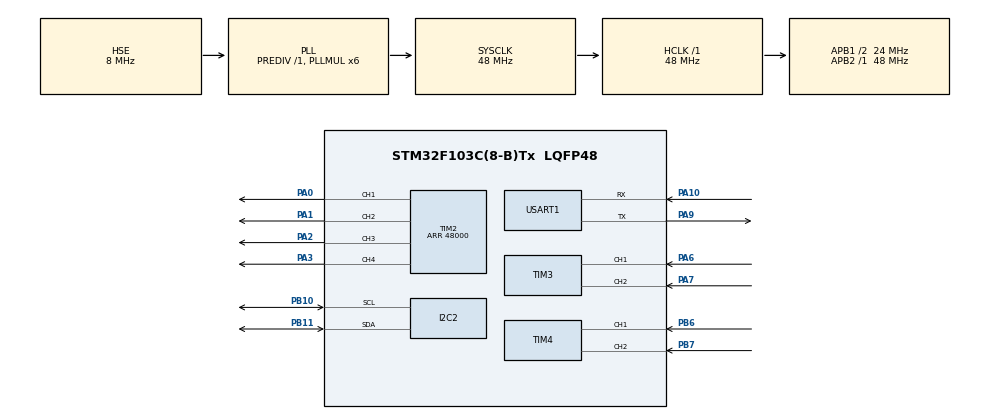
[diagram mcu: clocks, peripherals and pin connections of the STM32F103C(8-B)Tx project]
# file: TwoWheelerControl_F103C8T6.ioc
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Mcu.Family=STM32F1
Mcu.Name=STM32F103C(8-B)Tx
Mcu.Package=LQFP48
NVIC.PriorityGroup=NVIC_PRIORITYGROUP_4
NVIC.USART1_IRQn=true\:0\:0\:false\:false\:true\:true\:true\:true
PA0-WKUP.Signal=S_TIM2_CH1_ETR
PA1.Signal=S_TIM2_CH2
PA10.Mode=Asynchronous
PA10.Signal=USART1_RX
PA13.Mode=Trace_Asynchronous_SW
PA13.Signal=SYS_JTMS-SWDIO
PA14.Mode=Trace_Asynchronous_SW
PA14.Signal=SYS_JTCK-SWCLK
PA2.Signal=S_TIM2_CH3
PA3.Signal=S_TIM2_CH4
PA6.Signal=S_TIM3_CH1
PA7.Signal=S_TIM3_CH2
PA9.Mode=Asynchronous
PA9.Signal=USART1_TX
PB10.Mode=I2C
PB10.Signal=I2C2_SCL
PB11.Mode=I2C
PB11.Signal=I2C2_SDA
PB3.Mode=Trace_Asynchronous_SW
PB3.Signal=SYS_JTDO-TRACESWO
PB6.Signal=S_TIM4_CH1
PB7.Signal=S_TIM4_CH2
PD0-OSC_IN.Mode=HSE-External-Oscillator
PD0-OSC_IN.Signal=RCC_OSC_IN
PD1-OSC_OUT.Mode=HSE-External-Oscillator
PD1-OSC_OUT.Signal=RCC_OSC_OUT
ProjectManager.HeapSize=0x200
ProjectManager.StackSize=0x400
ProjectManager.TargetToolchain=STM32CubeIDE
RCC.AHBFreq_Value=48000000
RCC.APB1CLKDivider=RCC_HCLK_DIV2
RCC.APB1Freq_Value=24000000
RCC.APB1TimFreq_Value=48000000
RCC.APB2Freq_Value=48000000
RCC.APB2TimFreq_Value=48000000
RCC.HCLKFreq_Value=48000000
RCC.PLLMUL=RCC_PLL_MUL6
RCC.PLLSourceVirtual=RCC_PLLSOURCE_HSE
RCC.SYSCLKFreq_VALUE=48000000
RCC.SYSCLKSource=RCC_SYSCLKSOURCE_PLLCLK
RCC.USBFreq_Value=48000000
SH.S_TIM2_CH1_ETR.0=TIM2_CH1,PWM Generation1 CH1
SH.S_TIM2_CH2.0=TIM2_CH2,PWM Generation2 CH2
SH.S_TIM2_CH3.0=TIM2_CH3,PWM Generation3 CH3
SH.S_TIM2_CH4.0=TIM2_CH4,PWM Generation4 CH4
SH.S_TIM3_CH1.0=TIM3_CH1,Encoder_Interface
SH.S_TIM3_CH2.0=TIM3_CH2,Encoder_Interface
SH.S_TIM4_CH1.0=TIM4_CH1,Encoder_Interface
SH.S_TIM4_CH2.0=TIM4_CH2,Encoder_Interface
TIM2.Channel-PWM\ Generation1\ CH1=TIM_CHANNEL_1
TIM2.Channel-PWM\ Generation2\ CH2=TIM_CHANNEL_2
TIM2.Channel-PWM\ Generation3\ CH3=TIM_CHANNEL_3
TIM2.Channel-PWM\ Generation4\ CH4=TIM_CHANNEL_4
TIM2.ClockDivision=TIM_CLOCKDIVISION_DIV1
TIM2.Period=48000
USART1.VirtualMode=VM_ASYNC
board=custom

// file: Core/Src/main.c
/* USER CODE BEGIN Header */
/**
  ******************************************************************************
  * @file           : main.c
  * @brief          : Main program body
  ******************************************************************************
  * @attention
  *
  * Copyright (c) 2024 STMicroelectronics.
  * All rights reserved.
  *
  * This software is licensed under terms that can be found in the LICENSE file
  * in the root directory of this software component.
  * If no LICENSE file comes with this software, it is provided AS-IS.
  *
  ******************************************************************************
  */
/* USER CODE END Header */
#include "main.h"

/* USER CODE BEGIN Includes */
#include "mpu6050.h"
#include "MessageSend.h"
#include "PID_Controller.h"
#include "UART_DataProcess.h"
/* USER CODE END Includes */

/* USER CODE BEGIN PD */
/*----------------------------Wifi----------------------------*/
#define AT         "AT\r\n"
#define ATE        "ATE0\r\n"
#define RESTORE    "AT+RESTORE\r\n"
#define CWMODE     "AT+CWMODE=2\r\n"
#define CWSAP      "AT+CWSAP=\"esp_test\",\"1234567890\",5,3\r\n"
#define CIPMUX     "AT+CIPMUX=1\r\n"
#define CIPSERVER  "AT+CIPSERVER=1,8080\r\n"
/* USER CODE END PD */

I2C_HandleTypeDef hi2c2;

TIM_HandleTypeDef htim2;
TIM_HandleTypeDef htim3;
TIM_HandleTypeDef htim4;

UART_HandleTypeDef huart1;

/* USER CODE BEGIN PV */
ControlMessage ControlMsg = {0};

uint16_t CalibrationSpeed[20] = { 5, 10, 15, 20, 25, 30, 35, 40, 45, 50, 55, 60, 65, 70, 75, 80, 85, 90, 95, 100 };

uint16_t TargetPWM_Coefficient[2][20] = {
  { 7419, 7926, 9093, 10239, 11568, 12663, 13709, 14952, 16235, 17686, 19773, 21536, 23592, 26488, 28864, 31445, 34393, 36772, 39053, 41571},
  {0}
};

double Coefficient[2][6] = {
  { 6393.2863777406f, 150.8072828816f,  3.9744715635f, -0.1313606797f,  0.0022325135f, -0.0000111731f },
  { 6559.9999999987f, 303.4261072263f, -6.5722610723f,  0.1653146853f, -0.0018135198f,  0.0000082051f }
};

PWM_LimitCalibration_t PWM_LimitCal = {0};

ControlINFO_t ControlINFO;

Encoder_t Encoder[2]   = {0};
PID_t     MOTOR_PID[2] = {0};
uint8_t   speed        =  0;

//Control_flag_t Control_flag = {false};
MPU6050_t      MPU6050      = {0};
Count_t        Count        = {0};

/* USER CODE END PV */

void SystemClock_Config(void);
static void MX_GPIO_Init(void);
static void MX_TIM2_Init(void);
static void MX_I2C2_Init(void);
static void MX_USART1_UART_Init(void);
static void MX_TIM3_Init(void);
static void MX_TIM4_Init(void);
/* USER CODE BEGIN PFP */
static void WIFI_Init(void);
static void MessageProcess(void);
static void MOTOR_Control(void);

/* USER CODE END PFP */

int main(void)
{

  /* MCU Configuration--------------------------------------------------------*/

  /* Reset of all peripherals, Initializes the Flash interface and the Systick. */
  HAL_Init();

  /* Configure the system clock */
  SystemClock_Config();

  /* Initialize all configured peripherals */
  MX_GPIO_Init();
  MX_TIM2_Init();
  MX_I2C2_Init();
  MX_USART1_UART_Init();
  MX_TIM3_Init();
  MX_TIM4_Init();
  /* USER CODE BEGIN 2 */
  /*-------------------------------- UART Init ----------------------------------*/
  WIFI_Init();
  ControlMsg.ESP32Info.Aisle = '0';
  /*-------------------------- MOTOR controller Init ----------------------------*/
  HAL_TIM_PWM_Start(&htim2, TIM_CHANNEL_ALL);
  TIM2->CR1 |= TIM_CR1_CEN;
  TIM2->CNT = 0;
  TIM2->CCER |= (TIM_CCER_CC1E|TIM_CCER_CC2E|TIM_CCER_CC3E|TIM_CCER_CC4E);

  /*--------------------------- MOTOR1 Encoder Init -----------------------------*/
  PID_Init(&MOTOR_PID[MOTOR1], 0.85, 0.90, 0.02);
  HAL_TIM_Encoder_Start(&htim3, TIM_CHANNEL_ALL);

  /*--------------------------- MOTOR2 Encoder Init -----------------------------*/
  PID_Init(&MOTOR_PID[MOTOR2], 0.85, 0.90, 0.02);
  HAL_TIM_Encoder_Start(&htim4, TIM_CHANNEL_ALL);

  /* USER CODE END 2 */

  /* Infinite loop */
  /* USER CODE BEGIN WHILE */
  while (1)
  {
    /*------------- read WIFI data -------------*/
    MessageProcess();
    /*-------------- MOTOR Control -------------*/
    MOTOR_Control();

    /* USER CODE END WHILE */

  }
}

void SystemClock_Config(void)
{
  RCC_OscInitTypeDef RCC_OscInitStruct = {0};
  RCC_ClkInitTypeDef RCC_ClkInitStruct = {0};

  /** Initializes the RCC Oscillators according to the specified parameters
  * in the RCC_OscInitTypeDef structure.
  */
  RCC_OscInitStruct.OscillatorType = RCC_OSCILLATORTYPE_HSE;
  RCC_OscInitStruct.HSEState = RCC_HSE_ON;
  RCC_OscInitStruct.HSEPredivValue = RCC_HSE_PREDIV_DIV1;
  RCC_OscInitStruct.HSIState = RCC_HSI_ON;
  RCC_OscInitStruct.PLL.PLLState = RCC_PLL_ON;
  RCC_OscInitStruct.PLL.PLLSource = RCC_PLLSOURCE_HSE;
  RCC_OscInitStruct.PLL.PLLMUL = RCC_PLL_MUL6;
  if (HAL_RCC_OscConfig(&RCC_OscInitStruct) != HAL_OK)
  {
    Error_Handler();
  }

  /** Initializes the CPU, AHB and APB buses clocks
  */
  RCC_ClkInitStruct.ClockType = RCC_CLOCKTYPE_HCLK|RCC_CLOCKTYPE_SYSCLK
                              |RCC_CLOCKTYPE_PCLK1|RCC_CLOCKTYPE_PCLK2;
  RCC_ClkInitStruct.SYSCLKSource = RCC_SYSCLKSOURCE_PLLCLK;
  RCC_ClkInitStruct.AHBCLKDivider = RCC_SYSCLK_DIV1;
  RCC_ClkInitStruct.APB1CLKDivider = RCC_HCLK_DIV2;
  RCC_ClkInitStruct.APB2CLKDivider = RCC_HCLK_DIV1;

  if (HAL_RCC_ClockConfig(&RCC_ClkInitStruct, FLASH_LATENCY_1) != HAL_OK)
  {
    Error_Handler();
  }
}

static void MX_I2C2_Init(void)
{

  hi2c2.Instance = I2C2;
  hi2c2.Init.ClockSpeed = 100000;
  hi2c2.Init.DutyCycle = I2C_DUTYCYCLE_2;
  hi2c2.Init.OwnAddress1 = 0;
  hi2c2.Init.AddressingMode = I2C_ADDRESSINGMODE_7BIT;
  hi2c2.Init.DualAddressMode = I2C_DUALADDRESS_DISABLE;
  hi2c2.Init.OwnAddress2 = 0;
  hi2c2.Init.GeneralCallMode = I2C_GENERALCALL_DISABLE;
  hi2c2.Init.NoStretchMode = I2C_NOSTRETCH_DISABLE;
  if (HAL_I2C_Init(&hi2c2) != HAL_OK)
  {
    Error_Handler();
  }

}

static void MX_TIM2_Init(void)
{

  TIM_MasterConfigTypeDef sMasterConfig = {0};
  TIM_OC_InitTypeDef sConfigOC = {0};

  htim2.Instance = TIM2;
  htim2.Init.Prescaler = 0;
  htim2.Init.CounterMode = TIM_COUNTERMODE_UP;
  htim2.Init.Period = 48000;
  htim2.Init.ClockDivision = TIM_CLOCKDIVISION_DIV1;
  htim2.Init.AutoReloadPreload = TIM_AUTORELOAD_PRELOAD_DISABLE;
  if (HAL_TIM_PWM_Init(&htim2) != HAL_OK)
  {
    Error_Handler();
  }
  sMasterConfig.MasterOutputTrigger = TIM_TRGO_RESET;
  sMasterConfig.MasterSlaveMode = TIM_MASTERSLAVEMODE_DISABLE;
  if (HAL_TIMEx_MasterConfigSynchronization(&htim2, &sMasterConfig) != HAL_OK)
  {
    Error_Handler();
  }
  sConfigOC.OCMode = TIM_OCMODE_PWM1;
  sConfigOC.Pulse = 0;
  sConfigOC.OCPolarity = TIM_OCPOLARITY_HIGH;
  sConfigOC.OCFastMode = TIM_OCFAST_DISABLE;
  if (HAL_TIM_PWM_ConfigChannel(&htim2, &sConfigOC, TIM_CHANNEL_1) != HAL_OK)
  {
    Error_Handler();
  }
  if (HAL_TIM_PWM_ConfigChannel(&htim2, &sConfigOC, TIM_CHANNEL_2) != HAL_OK)
  {
    Error_Handler();
  }
  if (HAL_TIM_PWM_ConfigChannel(&htim2, &sConfigOC, TIM_CHANNEL_3) != HAL_OK)
  {
    Error_Handler();
  }
  if (HAL_TIM_PWM_ConfigChannel(&htim2, &sConfigOC, TIM_CHANNEL_4) != HAL_OK)
  {
    Error_Handler();
  }
  HAL_TIM_MspPostInit(&htim2);

}

static void MX_TIM3_Init(void)
{

  TIM_Encoder_InitTypeDef sConfig = {0};
  TIM_MasterConfigTypeDef sMasterConfig = {0};

  htim3.Instance = TIM3;
  htim3.Init.Prescaler = 0;
  htim3.Init.CounterMode = TIM_COUNTERMODE_UP;
  htim3.Init.Period = 65535;
  htim3.Init.ClockDivision = TIM_CLOCKDIVISION_DIV1;
  htim3.Init.AutoReloadPreload = TIM_AUTORELOAD_PRELOAD_DISABLE;
  sConfig.EncoderMode = TIM_ENCODERMODE_TI1;
  sConfig.IC1Polarity = TIM_ICPOLARITY_RISING;
  sConfig.IC1Selection = TIM_ICSELECTION_DIRECTTI;
  sConfig.IC1Prescaler = TIM_ICPSC_DIV1;
  sConfig.IC1Filter = 0;
  sConfig.IC2Polarity = TIM_ICPOLARITY_RISING;
  sConfig.IC2Selection = TIM_ICSELECTION_DIRECTTI;
  sConfig.IC2Prescaler = TIM_ICPSC_DIV1;
  sConfig.IC2Filter = 0;
  if (HAL_TIM_Encoder_Init(&htim3, &sConfig) != HAL_OK)
  {
    Error_Handler();
  }
  sMasterConfig.MasterOutputTrigger = TIM_TRGO_RESET;
  sMasterConfig.MasterSlaveMode = TIM_MASTERSLAVEMODE_DISABLE;
  if (HAL_TIMEx_MasterConfigSynchronization(&htim3, &sMasterConfig) != HAL_OK)
  {
    Error_Handler();
  }

}

static void MX_TIM4_Init(void)
{

  TIM_Encoder_InitTypeDef sConfig = {0};
  TIM_MasterConfigTypeDef sMasterConfig = {0};

  htim4.Instance = TIM4;
  htim4.Init.Prescaler = 0;
  htim4.Init.CounterMode = TIM_COUNTERMODE_UP;
  htim4.Init.Period = 65535;
  htim4.Init.ClockDivision = TIM_CLOCKDIVISION_DIV1;
  htim4.Init.AutoReloadPreload = TIM_AUTORELOAD_PRELOAD_DISABLE;
  sConfig.EncoderMode = TIM_ENCODERMODE_TI1;
  sConfig.IC1Polarity = TIM_ICPOLARITY_RISING;
  sConfig.IC1Selection = TIM_ICSELECTION_DIRECTTI;
  sConfig.IC1Prescaler = TIM_ICPSC_DIV1;
  sConfig.IC1Filter = 0;
  sConfig.IC2Polarity = TIM_ICPOLARITY_RISING;
  sConfig.IC2Selection = TIM_ICSELECTION_DIRECTTI;
  sConfig.IC2Prescaler = TIM_ICPSC_DIV1;
  sConfig.IC2Filter = 0;
  if (HAL_TIM_Encoder_Init(&htim4, &sConfig) != HAL_OK)
  {
    Error_Handler();
  }
  sMasterConfig.MasterOutputTrigger = TIM_TRGO_RESET;
  sMasterConfig.MasterSlaveMode = TIM_MASTERSLAVEMODE_DISABLE;
  if (HAL_TIMEx_MasterConfigSynchronization(&htim4, &sMasterConfig) != HAL_OK)
  {
    Error_Handler();
  }

}

static void MX_USART1_UART_Init(void)
{

  huart1.Instance = USART1;
  huart1.Init.BaudRate = 115200;
  huart1.Init.WordLength = UART_WORDLENGTH_8B;
  huart1.Init.StopBits = UART_STOPBITS_1;
  huart1.Init.Parity = UART_PARITY_NONE;
  huart1.Init.Mode = UART_MODE_TX_RX;
  huart1.Init.HwFlowCtl = UART_HWCONTROL_NONE;
  huart1.Init.OverSampling = UART_OVERSAMPLING_16;
  if (HAL_UART_Init(&huart1) != HAL_OK)
  {
    Error_Handler();
  }

}

static void MX_GPIO_Init(void)
{

  /* GPIO Ports Clock Enable */
  __HAL_RCC_GPIOD_CLK_ENABLE();
  __HAL_RCC_GPIOA_CLK_ENABLE();
  __HAL_RCC_GPIOB_CLK_ENABLE();

}

/* USER CODE BEGIN 4 */
void AT_SEND(UART_HandleTypeDef *huart, uint8_t Aisle, int SendSize)
{
  AT_CIPSEND(huart, ControlMsg.ESP32Info.Aisle, SendSize);
  HAL_Delay(20);
  HAL_UART_Transmit(huart, (uint8_t *)ControlMsg.TXBuffer, SendSize, 10);
}

void SendINFO(UART_HandleTypeDef *huart, const char *format, ...)
{
  va_list args;
  int SendSize;

  va_start(args, format);
  SendSize = vsprintf(ControlMsg.TXBuffer, format, args);
  va_end(args);

  AT_SEND(huart, ControlMsg.ESP32Info.Aisle, SendSize);
}

uint32_t Gettime(uint32_t StartTime)
{
  uint32_t CurrentTime = HAL_GetTick();

  if(CurrentTime >= StartTime) return (CurrentTime - StartTime);
  else                         return (0xFFFFFFFF - StartTime + CurrentTime + 1);
}

static void WIFI_Init(void)
{
  USART1->CR1 |= USART_CR1_RXNEIE;

  HAL_Delay(5000);
  HAL_UART_Transmit(&huart1, (uint8_t *)AT,        sizeof(AT)        -1, 10); HAL_Delay(800);
  HAL_UART_Transmit(&huart1, (uint8_t *)ATE,       sizeof(ATE)       -1, 10); HAL_Delay(800);
  HAL_UART_Transmit(&huart1, (uint8_t *)CWMODE,    sizeof(CWMODE)    -1, 10); HAL_Delay(800);
  HAL_UART_Transmit(&huart1, (uint8_t *)CIPMUX,    sizeof(CIPMUX)    -1, 10); HAL_Delay(800);
  HAL_UART_Transmit(&huart1, (uint8_t *)CIPSERVER, sizeof(CIPSERVER) -1, 10); HAL_Delay(800);
}

void CalculateSpeedAngle(Encoder_t      Encoder[2],
                         PID_t          PID[2],
                         ControlINFO_t *ControlINFO,
                         uint8_t        ControlParameters[],
                         const float    MAXRPM,
                         const double   Coefficient[2][6])
{
#define use 1

  if(ControlParameters[3] == 0x11 && ControlParameters[8] == 0x12)
  {
    uint8_t SpeedData[4] = { ControlParameters[7], ControlParameters[6], ControlParameters[5], ControlParameters[4] };
    memcpy(&ControlINFO->MotorSpeed, (void *)&SpeedData, 4);
    uint8_t AngleData[4] = { ControlParameters[12], ControlParameters[11], ControlParameters[10], ControlParameters[9] };
    memcpy(&ControlINFO->SteeringAngle, (void *)&AngleData, 4);

    ControlINFO->Action = Forward;
    if(ControlINFO->SteeringAngle >  90.0 && ControlINFO->SteeringAngle <=  180.0)
    {
      ControlINFO->SteeringAngle =  180.0 - ControlINFO->SteeringAngle;
      ControlINFO->Action = Backward;
    }
    else if(ControlINFO->SteeringAngle < -90.0 && ControlINFO->SteeringAngle >= -180.0)
    {
      ControlINFO->SteeringAngle = -180.0 - ControlINFO->SteeringAngle;
      ControlINFO->Action = Backward;
    }

    if(  (ControlINFO->SteeringAngle >= -20.0 && ControlINFO->SteeringAngle <=  20.0)
       ||(ControlINFO->SteeringAngle >=  70.0 && ControlINFO->SteeringAngle <=  90.0)
       ||(ControlINFO->SteeringAngle <= -70.0 && ControlINFO->SteeringAngle >= -90.0))
    {
      Encoder[MOTOR1].TargetRPM = MAXRPM;
      Encoder[MOTOR2].TargetRPM = MAXRPM;
    }
    else if(ControlINFO->SteeringAngle > 20.0 && ControlINFO->SteeringAngle < 70.0)
    {
#if use
      Encoder[MOTOR1].TargetRPM = MAXRPM;
      Encoder[MOTOR2].TargetRPM = MAXRPM * ((90 - ControlINFO->SteeringAngle) / 90.0);
#else
      Encoder[MOTOR1].TargetRPM = (MAXRPM / 2.0) * (1 + ControlINFO->SteeringAngle / 90.0);
      Encoder[MOTOR2].TargetRPM = (MAXRPM / 2.0) * (1 - ControlINFO->SteeringAngle / 90.0);
      Encoder[MOTOR1].TargetRPM = 320000.0 / Encoder[MOTOR1].TargetRPM; // 400 * 800
      Encoder[MOTOR2].TargetRPM = 2.000000 * Encoder[MOTOR2].TargetRPM;
#endif
    }
    else if(ControlINFO->SteeringAngle < -20.0 && ControlINFO->SteeringAngle > -70.0)
    {
#if use
      Encoder[MOTOR1].TargetRPM = MAXRPM * ((90 - fabsf(ControlINFO->SteeringAngle)) / 90.0);
      Encoder[MOTOR2].TargetRPM = MAXRPM;
#else
      Encoder[MOTOR1].TargetRPM = (MAXRPM / 2.0) * (1 - fabsf(ControlINFO->SteeringAngle) / 90.0);
      Encoder[MOTOR2].TargetRPM = (MAXRPM / 2.0) * (1 + fabsf(ControlINFO->SteeringAngle) / 90.0);
      Encoder[MOTOR1].TargetRPM = 2.000000 * Encoder[MOTOR1].TargetRPM; // 400 * 800
      Encoder[MOTOR2].TargetRPM = 320000.0 / Encoder[MOTOR2].TargetRPM;
#endif
    }

    if     (Encoder[MOTOR1].TargetRPM > MAXRPM) Encoder[MOTOR1].TargetRPM = MAXRPM;
    else if(Encoder[MOTOR1].TargetRPM <      0) Encoder[MOTOR1].TargetRPM = 0;
    if     (Encoder[MOTOR2].TargetRPM > MAXRPM) Encoder[MOTOR2].TargetRPM = MAXRPM;
    else if(Encoder[MOTOR2].TargetRPM <      0) Encoder[MOTOR2].TargetRPM = 0;

    Encoder[MOTOR1].TargetRPM = Encoder[MOTOR1].TargetRPM * (ControlINFO->MotorSpeed / 100.0);
    Encoder[MOTOR2].TargetRPM = Encoder[MOTOR2].TargetRPM * (ControlINFO->MotorSpeed / 100.0);

//    Encoder[MOTOR1].TargetPWM = CalculateTargetPWM(Coefficient, ControlINFO->MotorSpeed);
  }
}

static void MessageProcess(void)
{
  if(Count.UART >= 100)
  {
    Count.UART = 0;
    ControlMsg.MessageSize = QueueFindControlMessage(&ControlMsg, BUFFER_SIZE);

    if(ControlMsg.MessageSize > 0 && ControlMsg.TmpData[0] == 0xF1)
    {
      switch(ControlMsg.TmpData[2])
      {
        case 0x10:
          CalculateSpeedAngle(Encoder, MOTOR_PID, &ControlINFO, ControlMsg.TmpData, 400.0f, Coefficient);
//          Encoder[MOTOR1].TargetPWM = CalculateTargetPWM(&Coefficient[MOTOR1][0], speed);
          break;

//        case 0x20: // step control
//          if(ControlMsg.TmpData[3] == 0xFF) Control_flag.Step = true;
//          break;

        case 0x30: // Calibration Coefficient point
          PWM_LimitCal.CalState[MOTOR1] = STARTCAL;
          SendINFO(&huart1, "Start Calibration Coefficient point\n");
          break;

        case 0x40: // test
          SendINFO(&huart1, "test ok\n");
          break;

        case 0x41: SendAuthor_Lkl(&huart1, ControlMsg.TmpData); break;
        case 0x63: SendCatPattern(&huart1, ControlMsg.TmpData); break;
      }
    }
  }
}

static void MOTOR_Control(void)
{
  if(Count.PID_Ctrl >= 25 && ((ControlMsg.TmpData[2] == 0x10 && ControlINFO.MotorSpeed != 0.0) || PWM_LimitCal.CalState[MOTOR1] != NONECTRL))
  {
    Count.PID_Ctrl = 0;
    CalculateSpeed(&htim3, &Encoder[MOTOR1]);
    CalculateSpeed(&htim4, &Encoder[MOTOR2]);

    switch(ControlINFO.Action)
    {
//      case Forward:
//        TIM2->CCR1 = (uint32_t)PID_Compute(&MOTOR_PID[MOTOR1], Encoder[MOTOR1]); TIM2->CCR2 = 0;
//        TIM2->CCR3 = (uint32_t)PID_Compute(&MOTOR_PID[MOTOR2], Encoder[MOTOR2]); TIM2->CCR4 = 0;
//        break;
//
//      case Backward:
//        TIM2->CCR2 = (uint32_t)PID_Compute(&MOTOR_PID[MOTOR1], Encoder[MOTOR1]); TIM2->CCR1 = 0;
//        TIM2->CCR4 = (uint32_t)PID_Compute(&MOTOR_PID[MOTOR2], Encoder[MOTOR2]); TIM2->CCR3 = 0;
//        break;
//
//      case Clockwise:
//        TIM2->CCR1 = (uint32_t)PID_Compute(&MOTOR_PID[MOTOR1], Encoder[MOTOR1]); TIM2->CCR2 = 0;
//        TIM2->CCR4 = (uint32_t)PID_Compute(&MOTOR_PID[MOTOR2], Encoder[MOTOR2]); TIM2->CCR3 = 0;
//        break;
//
//      case Anticlockwise:
//        TIM2->CCR2 = (uint32_t)PID_Compute(&MOTOR_PID[MOTOR1], Encoder[MOTOR1]); TIM2->CCR1 = 0;
//        TIM2->CCR3 = (uint32_t)PID_Compute(&MOTOR_PID[MOTOR2], Encoder[MOTOR2]); TIM2->CCR4 = 0;
//        break;

      default: break;
    }
//    if(ControlINFO.SteeringAngle >= 70.0 && ControlINFO.SteeringAngle <= 90.0)
//    {
//      TIM2->CCR1 = (uint32_t)PID_Compute(&MOTOR_PID[MOTOR1], Encoder[MOTOR1]); TIM2->CCR2 = 0;
//      TIM2->CCR4 = (uint32_t)PID_Compute(&MOTOR_PID[MOTOR2], Encoder[MOTOR2]); TIM2->CCR3 = 0;
//    }else if(ControlINFO.SteeringAngle <= -70.0 && ControlINFO.SteeringAngle >= -90.0){
//      TIM2->CCR2 = (uint32_t)PID_Compute(&MOTOR_PID[MOTOR1], Encoder[MOTOR1]); TIM2->CCR1 = 0;
//      TIM2->CCR3 = (uint32_t)PID_Compute(&MOTOR_PID[MOTOR2], Encoder[MOTOR2]); TIM2->CCR4 = 0;
//    }else if(ControlINFO.Direction){
//      TIM2->CCR1 = (uint32_t)PID_Compute(&MOTOR_PID[MOTOR1], Encoder[MOTOR1]); TIM2->CCR2 = 0;
//      TIM2->CCR3 = (uint32_t)PID_Compute(&MOTOR_PID[MOTOR2], Encoder[MOTOR2]); TIM2->CCR4 = 0;
//    }else{
//      TIM2->CCR2 = (uint32_t)PID_Compute(&MOTOR_PID[MOTOR1], Encoder[MOTOR1]); TIM2->CCR1 = 0;
//      TIM2->CCR4 = (uint32_t)PID_Compute(&MOTOR_PID[MOTOR2], Encoder[MOTOR2]); TIM2->CCR3 = 0;
//    }
  }
  else if(ControlINFO.MotorSpeed == 0.0)
  {
    PID_ParameterClear(&MOTOR_PID[MOTOR1]); TIM2->CCR1 = TIM2->CCR2 = 0;
    PID_ParameterClear(&MOTOR_PID[MOTOR2]); TIM2->CCR3 = TIM2->CCR4 = 0;
  }
}

/* USER CODE END 4 */

void Error_Handler(void)
{
  __disable_irq();
  while (1)
  {
  }
}
